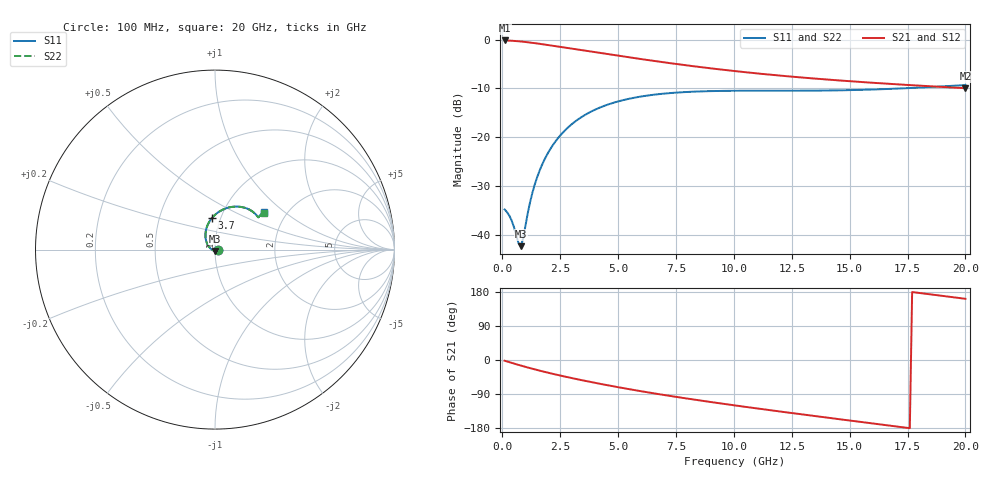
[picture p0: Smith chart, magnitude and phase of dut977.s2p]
! Touchstone file exported from HFSS 2024.1.0
!  File:  C:/UserFiles/LocalFiles/RDL_TSV_Batchsim/temp_RDL_TSV_977_1779972572.aedt
!  Generated:  09:04:09 PM May 28, 2026
!  Design:  RDL_TSV
!  Project:  temp_RDL_TSV_977_1779972572
!  Setup:  Setup1
!  Solution:  Sweep
! Variables:
!  dtsv = 12.4um
!  hbump = 3um
!  htsv = 95.14um
!  ldown = 275.07um
!  lrdl = 380.71um
!  p = 40
!  p1 = 48.46um
!  rhole = 10um
!  subl = 2348.05um
!  t = 450um
!  tdown = 3.82um
!  trdl = 3.17um
!  viad = 10um
!  wdown = 10.31um
!  wrdl = 15.62um
!  xbump = 18um
# GHz S MA R 50.000000
! Terminal data exported
! Port[1] = TM1_1_T1
! Port[2] = TM1_4_T1
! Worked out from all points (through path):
!   200 points, 100 MHz to 20 GHz, reference 50 ohm
!   highest |S21| = -0.17 dB at 100 MHz (marker M1); lowest = -9.9 dB at 20 GHz (marker M2)
!   group delay of S21, straight-line fit = 25.7 ps
!   lowest |S11| = -42.3 dB at 800 MHz (marker M3), VSWR 1.02, Z = 49.7 - j0.721 ohm
!   |S11| at or under -10 dB: start of sweep to 17.17 GHz
!   |S22| runs from -42.3 to -9.3 dB; largest |S21 - S12| = 2.7e-14
!   S11 on the Smith chart (normalised r, x): 100 MHz: 1.04, -0.00; 3.7 GHz: 0.91, +0.33; 20 GHz: 1.54, +0.73
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0.1  0.01826 -5.0  0.981 -1.9  0.981 -1.9  0.01826 -5.0
! Gamma 0 0 0 0
! Port Impedance 50 0 50 0
0.3  0.01584 -19.8  0.9774 -5.7  0.9774 -5.7  0.01606 -19.9
0.4  0.01415 -28.7  0.9745 -7.5  0.9745 -7.5  0.01437 -28.4
0.7  0.00823 -77.5  0.9625 -12.9  0.9625 -12.9  0.008287 -76.2
0.8  0.007685 -109.5  0.9576 -14.7  0.9576 -14.7  0.007641 -108.3
0.9  0.009208 -141.1  0.9523 -16.4  0.9523 -16.4  0.009095 -140.4
1.1  0.01674 -177.3  0.9406 -19.8  0.9406 -19.8  0.01661 -177.1
1.3  0.02704 165.3  0.9278 -23.1  0.9278 -23.1  0.02692 165.3
1.5  0.03872 154.0  0.9142 -26.3  0.9142 -26.3  0.0386 154.0
1.8  0.05773 141.5  0.8932 -30.9  0.8932 -30.9  0.05761 141.5
2.1  0.07763 131.6  0.8718 -35.4  0.8718 -35.4  0.0775 131.6
2.5  0.1043 120.5  0.8435 -41.0  0.8435 -41.0  0.1042 120.5
3  0.1363 109.0  0.809 -47.7  0.809 -47.7  0.1361 109.0
3.5  0.1656 99.2  0.776 -54.1  0.776 -54.1  0.1654 99.2
3.7  0.1764 95.6  0.7631 -56.6  0.7631 -56.6  0.1762 95.6
5  0.2331 76.8  0.6853 -71.8  0.6853 -71.8  0.2328 76.8
6.8  0.2774 59.2  0.5941 -90.5  0.5941 -90.5  0.2771 59.2
8.4  0.2943 49.0  0.5292 -105.5  0.5292 -105.5  0.294 49.0
10.1  0.2998 42.2  0.4749 -120.3  0.4749 -120.3  0.2995 42.1
13.4  0.3005 37.0  0.4011 -147.1  0.4011 -147.1  0.3002 36.9
16.7  0.3129 37.2  0.353 -172.9  0.353 -172.9  0.3125 37.0
20  0.3426 37.3  0.3184 161.5  0.3184 161.5  0.3419 37.1
